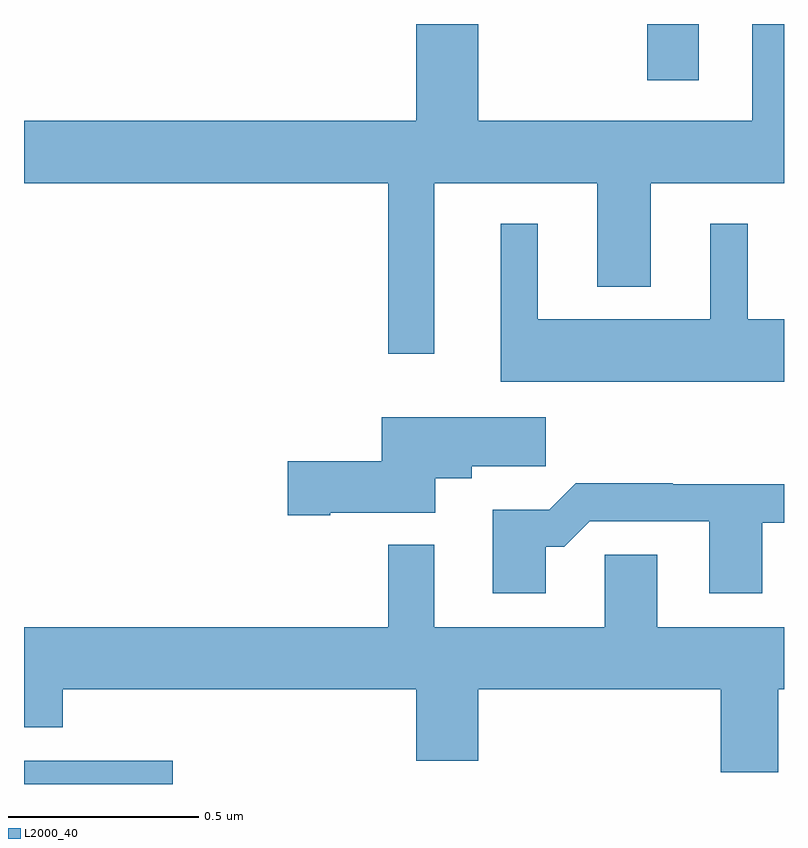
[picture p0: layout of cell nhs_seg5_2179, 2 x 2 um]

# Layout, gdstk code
import gdstk
lib = gdstk.Library(unit=1e-6, precision=1e-09)
def R(c, l, rs):  # rectangles x0, y0, x1, y1
    for r in rs: c.add(gdstk.rectangle(r[:2], r[2:], *l))
def P(c, l, *ps):  # polygons
    for p in ps: c.add(gdstk.Polygon(p, *l))
L2000_40 = (2000, 40)

nhs_seg5_2179 = lib.new_cell('nhs_seg5_2179')
R(nhs_seg5_2179, L2000_40, [(140,901.799,140.392,901.86), (141.64,903.651,141.775,903.799)])
P(nhs_seg5_2179, L2000_40, [(141.079,903.38),(141.509,903.38),(141.509,903.107),(141.649,903.107),(141.649,903.38),(142,903.38),(142,903.799),(141.917,903.799),(141.917,903.544),(141.196,903.544),(141.196,903.799),(141.032,903.799),(141.032,903.544),(140,903.544),(140,903.38),(140.958,903.38),(140.958,902.931),(141.079,902.931)],
  [(142,903.022),(141.904,903.022),(141.904,903.274),(141.806,903.274),(141.806,903.022),(141.352,903.022),(141.352,903.274),(141.254,903.274),(141.254,902.858),(142,902.858)],
  [(140.806,902.513),(141.082,902.513),(141.082,902.603),(141.178,902.603),(141.178,902.635),(141.373,902.635),(141.373,902.764),(140.942,902.764),(140.942,902.648),(140.694,902.648),(140.694,902.506),(140.806,902.506)],
  [(141.373,902.423),(141.422,902.423),(141.489,902.49),(141.803,902.49),(141.803,902.301),(141.943,902.301),(141.943,902.487),(142,902.487),(142,902.588),(141.707,902.588),(141.707,902.591),(141.452,902.591),(141.382,902.521),(141.233,902.521),(141.233,902.301),(141.373,902.301)],
  [(141.985,902.048),(142,902.048),(142,902.212),(141.667,902.212),(141.667,902.402),(141.528,902.402),(141.528,902.212),(141.079,902.212),(141.079,902.428),(140.958,902.428),(140.958,902.212),(140,902.212),(140,901.949),(140.102,901.949),(140.102,902.048),(141.032,902.048),(141.032,901.86),(141.196,901.86),(141.196,902.048),(141.833,902.048),(141.833,901.83),(141.985,901.83)])

lib.write_gds('nhs_seg5_2179.gds')
